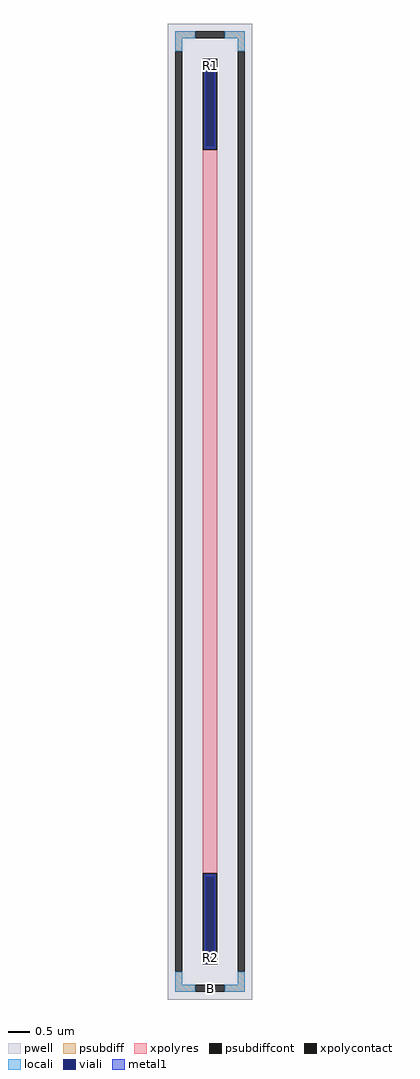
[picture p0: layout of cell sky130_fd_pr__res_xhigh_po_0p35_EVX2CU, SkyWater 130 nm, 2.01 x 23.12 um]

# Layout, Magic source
magic
tech sky130A
magscale 1 2
<< pwell >>
rect -201 -2312 201 2312
<< psubdiff >>
rect -165 2242 -69 2276
rect 69 2242 165 2276
rect -165 2180 -131 2242
rect 131 2180 165 2242
rect -165 -2242 -131 -2180
rect 131 -2242 165 -2180
rect -165 -2276 -69 -2242
rect 69 -2276 165 -2242
<< psubdiffcont >>
rect -69 2242 69 2276
rect -165 -2180 -131 2180
rect 131 -2180 165 2180
rect -69 -2276 69 -2242
<< xpolycontact >>
rect -35 1714 35 2146
rect -35 -2146 35 -1714
<< xpolyres >>
rect -35 -1714 35 1714
<< locali >>
rect -165 2242 -69 2276
rect 69 2242 165 2276
rect -165 2180 -131 2242
rect 131 2180 165 2242
rect -165 -2242 -131 -2180
rect 131 -2242 165 -2180
rect -165 -2276 -69 -2242
rect 69 -2276 165 -2242
<< viali >>
rect -19 1731 19 2128
rect -19 -2128 19 -1731
<< metal1 >>
rect -25 2128 25 2140
rect -25 1731 -19 2128
rect 19 1731 25 2128
rect -25 1719 25 1731
rect -25 -1731 25 -1719
rect -25 -2128 -19 -1731
rect 19 -2128 25 -1731
rect -25 -2140 25 -2128
<< labels >>
rlabel psubdiffcont 0 -2259 0 -2259 0 B
port 1 nsew
rlabel xpolycontact 0 2111 0 2111 0 R1
port 2 nsew
rlabel xpolycontact 0 -2111 0 -2111 0 R2
port 3 nsew
<< properties >>
string FIXED_BBOX -148 -2259 148 2259
string gencell sky130_fd_pr__res_xhigh_po_0p35
string library sky130
string parameters w 0.350 l 17.3 m 1 nx 1 wmin 0.350 lmin 0.50 class resistor rho 2000 val 99.932k dummy 0 dw 0.0 term 188.2 sterm 0.0 caplen 0 wmax 0.350 guard 1 glc 1 grc 1 gtc 1 gbc 1 compatible {sky130_fd_pr__res_xhigh_po_0p35  sky130_fd_pr__res_xhigh_po_0p69 sky130_fd_pr__res_xhigh_po_1p41  sky130_fd_pr__res_xhigh_po_2p85 sky130_fd_pr__res_xhigh_po_5p73} snake 0 full_metal 1 n_guard 0 hv_guard 0 vias 1 viagb 0 viagt 0 viagl 0 viagr 0 doports 1
<< end >>
